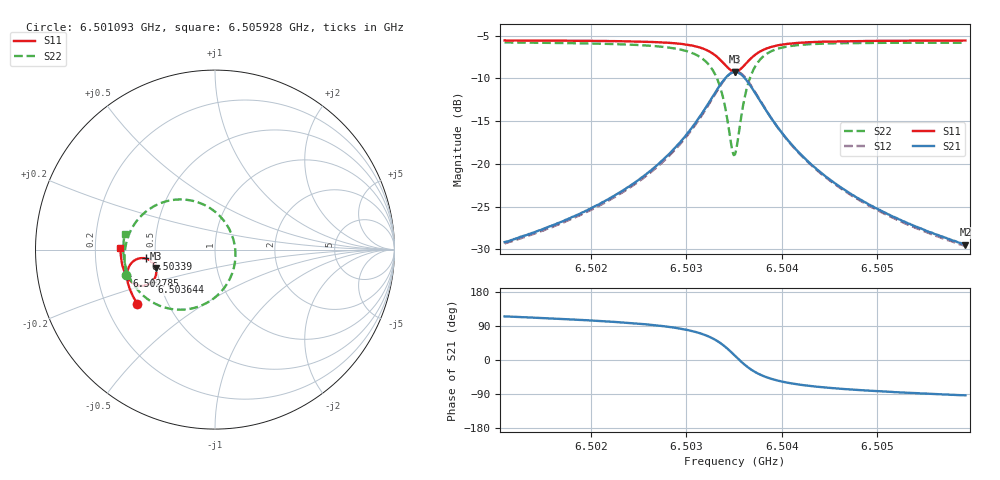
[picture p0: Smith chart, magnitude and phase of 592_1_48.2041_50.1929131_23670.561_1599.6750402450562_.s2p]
#  HZ  S  RI  R  50.00
! Rohde & Schwarz Vector Network Analyzer
! Rohde-Schwarz,ZNB20-2Port,1311601062101988,3.16
! Created: UTC 3/20/2024, 12:02:38 PM
! freq[Hz]  re:S11  im:S11  re:S21  im:S21  re:S12  im:S12  re:S22  im:S22
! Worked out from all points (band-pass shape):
!   401 points, 6.501093 GHz to 6.505928 GHz, reference 50 ohm
!   highest |S21| = -9.26 dB at 6.503511 GHz (marker M1); lowest = -29.4 dB at 6.505928 GHz (marker M2)
!   |S21| within 3 dB of the highest: 6.503269 GHz to 6.503753 GHz (483.6 kHz wide, 0.00744 % of centre)
!   lowest |S11| = -9.2 dB at 6.503511 GHz (marker M3), VSWR 2.06, Z = 24.7 - j5.72 ohm
!   |S11| at or under -10 dB: nowhere
!   |S22| runs from -19.0 to -5.8 dB; largest |S21 - S12| = 0.012
!   S11 on the Smith chart (normalised r, x): 6.501093 GHz: 0.34, -0.28; 6.502785 GHz: 0.33, -0.13; 6.50339 GHz: 0.44, -0.05; 6.503644 GHz: 0.45, -0.19; 6.505928 GHz: 0.31, +0.01
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6.5010932e9  -0.4328 -0.3009  -0.0148 0.0316  -0.0131 0.0316  -0.4932 -0.143
6.501903e9  -0.4667 -0.2396  -0.0139 0.05  -0.0116 0.0494  -0.5041 -0.0547
6.5023382e9  -0.4816 -0.2002  -0.0109 0.0694  -0.0078 0.0681  -0.4999 0.00915
6.5027129e9  -0.4897 -0.1577  -0.000984 0.1005  0.00242 0.098  -0.4782 0.087
6.5027855e9  -0.4902 -0.1477  0.00304 0.1095  0.00656 0.1066  -0.4694 0.1065
6.5029909e9  -0.4863 -0.1142  0.0246 0.1437  0.0283 0.1394  -0.4241 0.1743
6.5031481e9  -0.4711 -0.0819  0.0646 0.1802  0.0675 0.1744  -0.3464 0.2382
6.5032931e9  -0.4325 -0.0522  0.1477 0.209  0.1484 0.203  -0.1954 0.2794
6.5033898e9  -0.3852 -0.0495  0.2406 0.1921  0.2407 0.1879  -0.0347 0.2357
6.5034745e9  -0.3416 -0.0793  0.3199 0.1163  0.3226 0.1126  0.0921 0.0864
6.5035107e9  -0.3305 -0.1018  0.3378 0.0668  0.3418 0.0617  0.1135 -0.0067
6.5035349e9  -0.3276 -0.1185  0.3415 0.0315  0.3457 0.0253  0.111 -0.0711
6.5035712e9  -0.3296 -0.143  0.3339 -0.0194  0.3379 -0.0281  0.0833 -0.1618
6.5036437e9  -0.3523 -0.1809  0.2862 -0.097  0.2866 -0.1086  -0.0289 -0.287
6.503692e9  -0.3732 -0.1948  0.2455 -0.1263  0.2431 -0.1377  -0.114 -0.3245
6.5037525e9  -0.3988 -0.2016  0.1977 -0.1431  0.1926 -0.153  -0.208 -0.3345
6.5039096e9  -0.4466 -0.1922  0.1125 -0.139  0.1054 -0.1443  -0.3617 -0.2851
6.5040788e9  -0.4748 -0.1709  0.0661 -0.1175  0.0597 -0.12  -0.4365 -0.2176
6.5043206e9  -0.4962 -0.141  0.0351 -0.0918  0.0302 -0.0923  -0.4811 -0.1436
6.5047074e9  -0.5126 -0.0997  0.0147 -0.0662  0.0113 -0.0659  -0.5048 -0.0633
6.5051305e9  -0.5212 -0.0601  0.00536 -0.0501  0.00299 -0.0495  -0.5106 -0.00179
6.5059283e9  -0.5265 0.00822  -0.00187 -0.0337  -0.00331 -0.0329  -0.5037 0.0849
